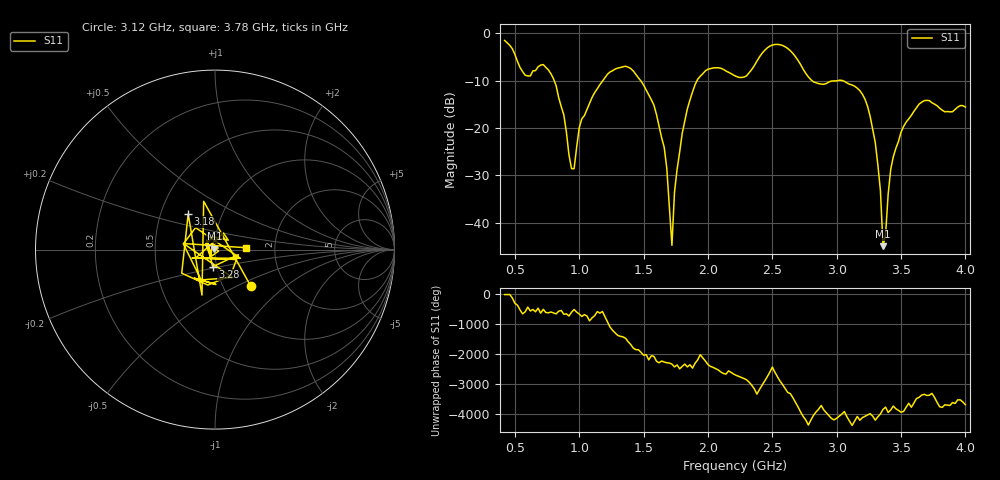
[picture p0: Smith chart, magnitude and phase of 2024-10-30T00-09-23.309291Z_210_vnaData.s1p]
!Created with skrf (http://scikit-rf.org).
# Hz S RI R 50.0
!freq ReS11 ImS11
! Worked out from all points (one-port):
!   180 points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, 420 MHz to 4 GHz, reference 50 ohm
!   lowest |S11| = -45.0 dB at 3.36 GHz (marker M1), VSWR 1.01, Z = 49.7 + j0.438 ohm
!   |S11| at or under -10 dB: 805.7 MHz to 1.183 GHz (377.3 MHz wide, 37.9 % of centre); 1.478 GHz to 1.915 GHz (437 MHz wide, 25.8 % of centre); 3.047 GHz to end of sweep (the widest 3 of 4)
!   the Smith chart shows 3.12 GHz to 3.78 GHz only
!   S11 on the Smith chart (normalised r, x): 3.12 GHz: 1.35, -0.60; 3.18 GHz: 0.69, +0.29; 3.28 GHz: 0.96, -0.19; 3.78 GHz: 1.41, +0.03
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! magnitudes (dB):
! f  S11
! 420 MHz  -1.5
! 580 MHz  -8.8
! 760 MHz  -7.7
! 880 MHz  -17.2
! 940 MHz  -28.6
! 960 MHz  -28.6
! 1.02 GHz  -18.0
! 1.32 GHz  -7.2
! 1.58 GHz  -15.2
! 1.66 GHz  -24.1
! 1.72 GHz  -44.8
! 1.74 GHz  -33.5
! 1.78 GHz  -25.1
! 1.92 GHz  -9.7
! 2.22 GHz  -9.1
! 2.5 GHz  -2.5
! 2.66 GHz  -4.2
! 2.82 GHz  -10.2
! 3.12 GHz  -10.9
! 3.18 GHz  -12.1
! 3.28 GHz  -20.3
! 3.34 GHz  -33.3
! 3.36 GHz  -45.0
! 3.38 GHz  -42.5
! 3.42 GHz  -28.7
! 3.56 GHz  -18.1
! 3.78 GHz  -15.3
! 4 GHz  -15.6
